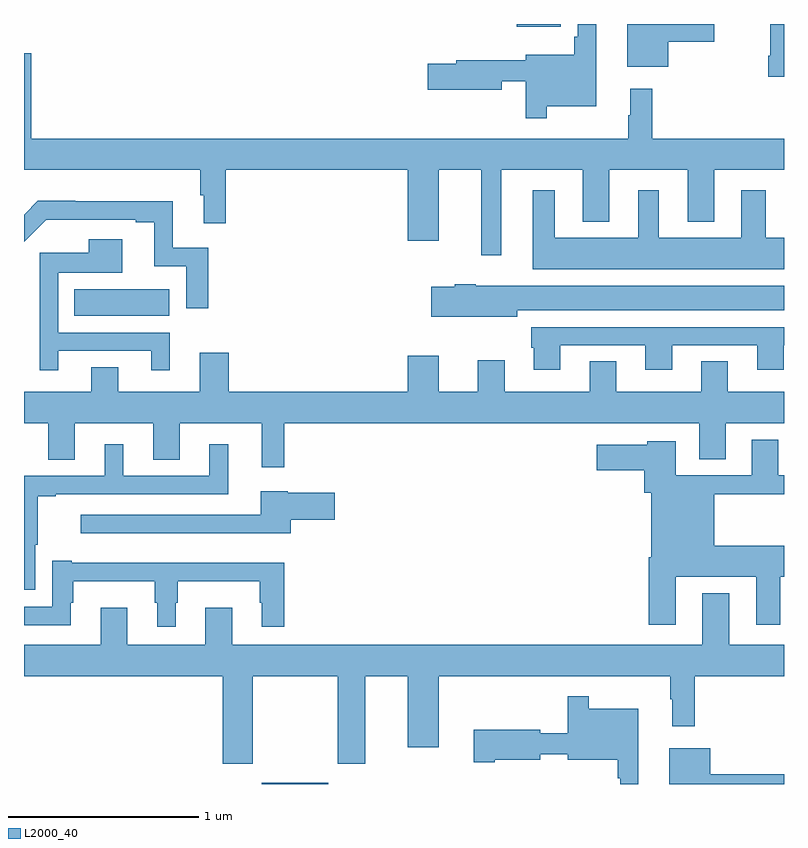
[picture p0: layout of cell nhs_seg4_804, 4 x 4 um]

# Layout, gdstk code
import gdstk
lib = gdstk.Library(unit=1e-6, precision=1e-09)
def R(c, l, rs):  # rectangles x0, y0, x1, y1
    for r in rs: c.add(gdstk.rectangle(r[:2], r[2:], *l))
def P(c, l, *ps):  # polygons
    for p in ps: c.add(gdstk.Polygon(p, *l))
L2000_40 = (2000, 40)

nhs_seg4_804 = lib.new_cell('nhs_seg4_804')
R(nhs_seg4_804, L2000_40, [(152.252,814.9,152.602,814.906), (151.264,817.364,151.765,817.504), (153.594,818.885,153.826,818.9)])
P(nhs_seg4_804, L2000_40, [(154.39,818.807),(154.633,818.807),(154.633,818.9),(154.175,818.9),(154.175,818.675),(154.39,818.675)],
  [(153.751,818.468),(154.012,818.468),(154.012,818.9),(153.915,818.9),(153.915,818.833),(153.895,818.833),(153.895,818.737),(153.641,818.737),(153.641,818.708),(153.275,818.708),(153.275,818.69),(153.126,818.69),(153.126,818.555),(153.514,818.555),(153.514,818.598),(153.642,818.598),(153.642,818.403),(153.751,818.403)],
  [(155,818.9),(154.928,818.9),(154.928,818.734),(154.916,818.734),(154.916,818.622),(155,818.622)],
  [(153.511,818.132),(153.941,818.132),(153.941,817.859),(154.081,817.859),(154.081,818.132),(154.493,818.132),(154.493,817.859),(154.633,817.859),(154.633,818.132),(155,818.132),(155,818.296),(154.307,818.296),(154.307,818.56),(154.19,818.56),(154.19,818.42),(154.179,818.42),(154.179,818.296),(151.039,818.296),(151.039,818.746),(151,818.746),(151,818.132),(151.927,818.132),(151.927,818),(151.946,818),(151.946,817.851),(152.063,817.851),(152.063,818.132),(153.02,818.132),(153.02,817.758),(153.184,817.758),(153.184,818.132),(153.407,818.132),(153.407,817.683),(153.511,817.683)],
  [(155,817.774),(154.903,817.774),(154.903,818.026),(154.775,818.026),(154.775,817.774),(154.342,817.774),(154.342,818.026),(154.232,818.026),(154.232,817.774),(153.793,817.774),(153.793,818.026),(153.677,818.026),(153.677,817.61),(155,817.61)],
  [(151.97,817.722),(151.783,817.722),(151.783,817.966),(151.271,817.966),(151.271,817.969),(151.072,817.969),(151,817.897),(151,817.753),(151.116,817.869),(151.589,817.869),(151.589,817.857),(151.685,817.857),(151.685,817.626),(151.854,817.626),(151.854,817.404),(151.97,817.404)],
  [(151.18,817.179),(151.67,817.179),(151.67,817.077),(151.768,817.077),(151.768,817.275),(151.179,817.275),(151.179,817.592),(151.516,817.592),(151.516,817.768),(151.34,817.768),(151.34,817.696),(151.083,817.696),(151.083,817.077),(151.18,817.077)],
  [(153.595,817.394),(155,817.394),(155,817.522),(153.378,817.522),(153.378,817.529),(153.267,817.529),(153.267,817.516),(153.144,817.516),(153.144,817.358),(153.595,817.358)],
  [(153.823,817.209),(154.271,817.209),(154.271,817.08),(154.411,817.08),(154.411,817.209),(154.859,817.209),(154.859,817.08),(154.999,817.08),(154.999,817.209),(155,817.209),(155,817.305),(153.671,817.305),(153.671,817.197),(153.683,817.197),(153.683,817.08),(153.823,817.08)],
  [(152.369,816.8),(154.553,816.8),(154.553,816.61),(154.693,816.61),(154.693,816.8),(155,816.8),(155,816.964),(154.705,816.964),(154.705,817.124),(154.565,817.124),(154.565,816.964),(154.117,816.964),(154.117,817.124),(153.977,817.124),(153.977,816.964),(153.529,816.964),(153.529,817.129),(153.389,817.129),(153.389,816.964),(153.184,816.964),(153.184,817.153),(153.02,817.153),(153.02,816.964),(152.078,816.964),(152.078,817.171),(151.925,817.171),(151.925,816.964),(151.495,816.964),(151.495,817.094),(151.355,817.094),(151.355,816.964),(151,816.964),(151,816.8),(151.127,816.8),(151.127,816.607),(151.267,816.607),(151.267,816.8),(151.679,816.8),(151.679,816.607),(151.819,816.607),(151.819,816.8),(152.252,816.8),(152.252,816.567),(152.369,816.567)],
  [(154.429,815.99),(154.853,815.99),(154.853,815.739),(154.981,815.739),(154.981,815.99),(155,815.99),(155,816.154),(154.633,816.154),(154.633,816.424),(155,816.424),(155,816.525),(154.969,816.525),(154.969,816.712),(154.829,816.712),(154.829,816.525),(154.429,816.525),(154.429,816.703),(154.281,816.703),(154.281,816.685),(154.014,816.685),(154.014,816.551),(154.265,816.551),(154.265,816.432),(154.301,816.432),(154.301,816.094),(154.289,816.094),(154.289,815.739),(154.429,815.739)],
  [(151.06,816.159),(151.072,816.159),(151.072,816.414),(151.168,816.414),(151.168,816.426),(152.075,816.426),(152.075,816.688),(151.976,816.688),(151.976,816.522),(151.522,816.522),(151.522,816.688),(151.424,816.688),(151.424,816.522),(151,816.522),(151,815.922),(151.06,815.922)],
  [(152.405,816.29),(152.635,816.29),(152.635,816.432),(152.388,816.432),(152.388,816.442),(152.246,816.442),(152.246,816.318),(151.299,816.318),(151.299,816.221),(152.405,816.221)],
  [(151.798,815.855),(151.81,815.855),(151.81,815.966),(152.241,815.966),(152.241,815.855),(152.252,815.855),(152.252,815.727),(152.369,815.727),(152.369,816.064),(151.252,816.064),(151.252,816.076),(151.149,816.076),(151.149,815.832),(151,815.832),(151,815.736),(151.246,815.736),(151.246,815.855),(151.258,815.855),(151.258,815.966),(151.689,815.966),(151.689,815.855),(151.7,815.855),(151.7,815.727),(151.798,815.727)],
  [(152.205,815.468),(152.65,815.468),(152.65,815.007),(152.797,815.007),(152.797,815.468),(153.02,815.468),(153.02,815.094),(153.184,815.094),(153.184,815.468),(154.401,815.468),(154.401,815.345),(154.412,815.345),(154.412,815.205),(154.529,815.205),(154.529,815.468),(155,815.468),(155,815.632),(154.711,815.632),(154.711,815.905),(154.571,815.905),(154.571,815.632),(152.095,815.632),(152.095,815.827),(151.955,815.827),(151.955,815.632),(151.543,815.632),(151.543,815.827),(151.403,815.827),(151.403,815.632),(151,815.632),(151,815.468),(152.045,815.468),(152.045,815.007),(152.205,815.007)],
  [(154.234,815.296),(153.973,815.296),(153.973,815.362),(153.863,815.362),(153.863,815.167),(153.718,815.167),(153.718,815.185),(153.366,815.185),(153.366,815.015),(153.478,815.015),(153.478,815.027),(153.718,815.027),(153.718,815.057),(153.863,815.057),(153.863,815.027),(154.125,815.027),(154.125,814.931),(154.137,814.931),(154.137,814.9),(154.234,814.9)],
  [(155,814.952),(154.612,814.952),(154.612,815.089),(154.397,815.089),(154.397,814.9),(155,814.9)])

lib.write_gds('nhs_seg4_804.gds')
